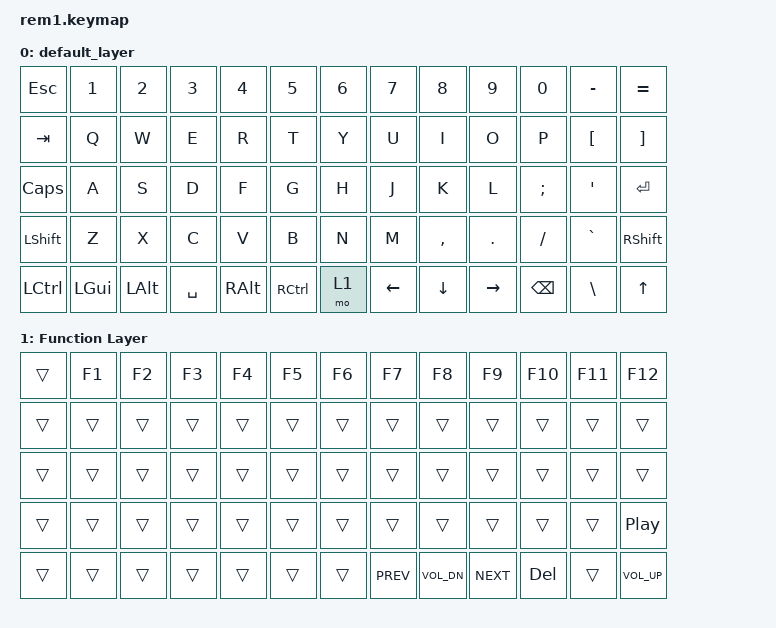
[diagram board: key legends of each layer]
/* Keymap for rem1 shield */
#include <behaviors.dtsi>
#include <dt-bindings/zmk/keys.h>
#include <dt-bindings/zmk/bt.h>
#include <dt-bindings/zmk/outputs.h>

/ {
    keymap {
        compatible = "zmk,keymap";

        default_layer {
            bindings = <
                /* Row 1 */
                &kp ESC      &kp N1       &kp N2        &kp N3        &kp N4        &kp N5        &kp N6        &kp N7        &kp N8        &kp N9        &kp N0     &kp MINUS    &kp EQUAL
                /* Row 2 */
                &kp TAB        &kp Q         &kp W         &kp E         &kp R         &kp T         &kp Y         &kp U         &kp I         &kp O         &kp P      &kp LBKT     &kp RBKT        
                /* Row 3 */
                &kp CAPSLOCK   &kp A         &kp S         &kp D         &kp F         &kp G         &kp H         &kp J         &kp K         &kp L         &kp SEMICOLON  &kp SINGLE_QUOTE &kp ENTER
                /* Row 4 */
                &kp LSHIFT     &kp Z         &kp X         &kp C         &kp V         &kp B         &kp N         &kp M         &kp COMMA     &kp DOT      &kp SLASH     &kp GRAVE      &kp RSHIFT
                /* Row 5 */
                &kp LCTRL      &kp LGUI      &kp LALT      &kp SPACE     &kp RALT      &kp RCTRL     &mo 1        &kp LEFT     &kp DOWN     &kp RIGHT  &kp BACKSPACE  &kp BACKSLASH &kp UP
            >;
        };
        fn_layer {
            display-name = "Function Layer";
            bindings = <
                /* Row 1 */
                &trans      &kp F1        &kp F2        &kp F3        &kp F4        &kp F5        &kp F6        &kp F7        &kp F8        &kp F9        &kp F10     &kp F11    &kp F12
                /* Row 2 */
                &trans        &trans         &trans         &trans         &trans         &trans         &trans         &trans         &trans         &trans         &trans      &trans     &trans         
                /* Row 3 */
                &trans   &trans         &trans         &trans         &trans         &trans         &trans         &trans         &trans         &trans         &trans  &trans &trans
                /* Row 4 */
                &trans     &trans         &trans         &trans         &trans         &trans         &trans         &trans         &trans     &trans      &trans     &trans      &kp C_PP
                /* Row 5 */
                &trans      &trans      &trans      &trans     &trans      &trans     &trans        &kp C_PREV     &kp C_VOL_DN     &kp C_NEXT    &kp DELETE    &trans    &kp C_VOL_UP
            >;
        };
    };
};
